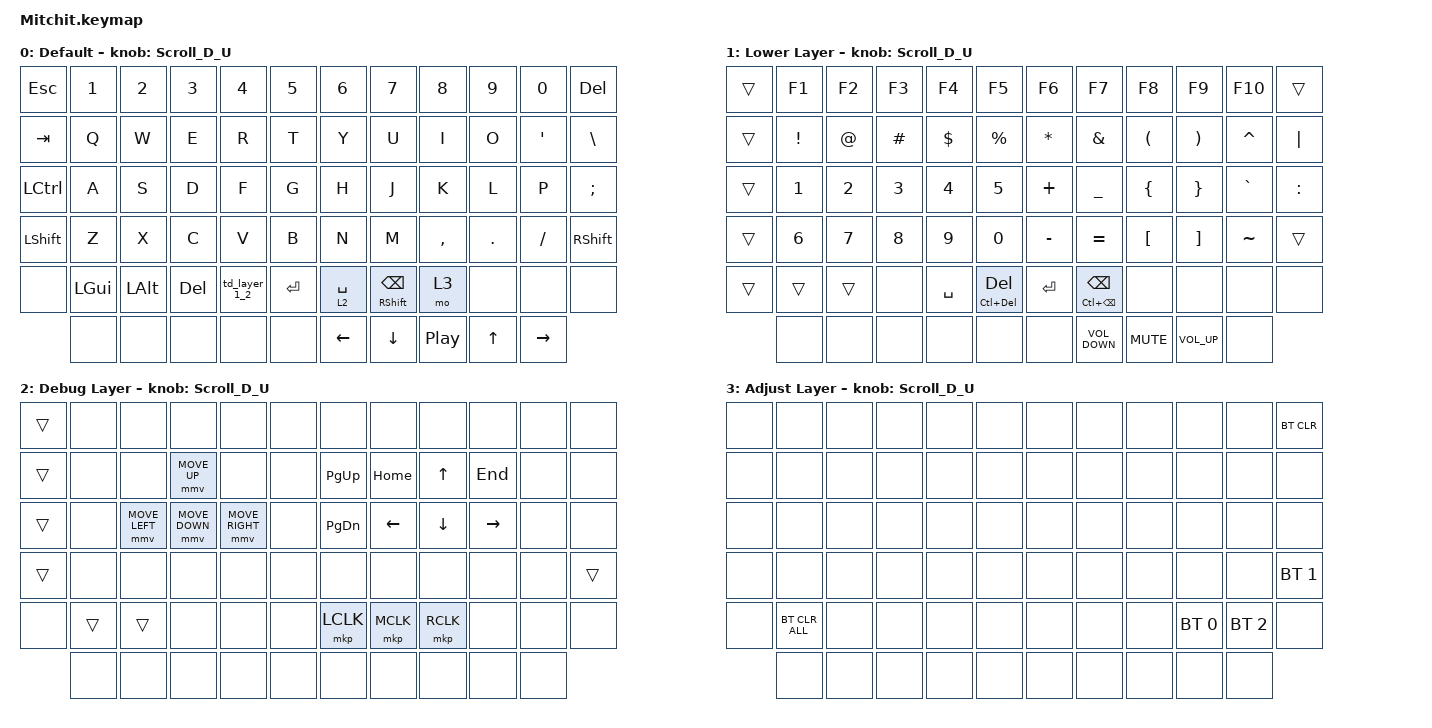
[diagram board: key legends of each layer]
/*
 * Copyright (c) 2020 The ZMK Contributors
 *
 * SPDX-License-Identifier: MIT
 */

#include <input/processors.dtsi>
#include <zephyr/dt-bindings/input/input-event-codes.h>
#include <dt-bindings/zmk/mouse.h>
#include <behaviors/mouse_keys.dtsi>
#include <behaviors.dtsi>
#include <dt-bindings/zmk/bt.h>
#include <dt-bindings/zmk/keys.h>
#include <dt-bindings/zmk/pointing.h>

#define ZMK_POINTING_DEFAULT_MOVE_VAL 1200  // 600
#define ZMK_POINTING_DEFAULT_SCRL_VAL 900   // mousescroll SPEED

&mmv_input_listener { input-processors = <&zip_xy_scaler 2 1>; };

&msc_input_listener { input-processors = <&zip_scroll_scaler 2 1>; };

&msc {
    acceleration-exponent = <1>;      // 0
    time-to-max-speed-ms = <100>;       // 300
    delay-ms = <0>;                   // 0
};

&mmv {
    time-to-max-speed-ms = <500>;
    acceleration-exponent = <1>;
    trigger-period-ms = <16>;
};

&soft_off {
    hold-time-ms = <3000>; // Only turn off it the key is held for 3 seconds or longer.
};

&mt {
    tapping-term-ms = <300>;
    flavor = "balanced";
};

/ {
    behaviors {
        Scroll_D_U: Scroll_D_U {
            compatible = "zmk,behavior-sensor-rotate";
            label = "SCROLL_D_U";
            #sensor-binding-cells = <0>;
            bindings = <&msc SCRL_DOWN>, <&msc SCRL_UP>;

            tap-ms = <20>;
        };

        TD01: TD01 {
            compatible = "zmk,behavior-tap-dance";
            label = "TD01";
            #binding-cells = <0>;
            bindings = <&kp MINUS>, <&kp PERIOD>;
        };

        Scroll_U_D: Scroll_U_D {
            compatible = "zmk,behavior-sensor-rotate";
            label = "SCROLL_U_D";
            #sensor-binding-cells = <0>;
            bindings = <&msc SCRL_UP>, <&msc SCRL_DOWN>;

            tap-ms = <20>;
        };

        Scroll_LR: Scroll_LR {
            compatible = "zmk,behavior-sensor-rotate";
            label = "SCROLL_LR";
            #sensor-binding-cells = <0>;
            bindings = <&msc SCRL_LEFT>, <&msc SCRL_RIGHT>;

            tap-ms = <20>;
        };

        Scroll_RL: Scroll_RL {
            compatible = "zmk,behavior-sensor-rotate";
            label = "SCROLL_RL";
            #sensor-binding-cells = <0>;
            bindings = <&msc SCRL_RIGHT>, <&msc SCRL_LEFT>;

            tap-ms = <20>;
        };

        td_Bracket: td_Bracket {
            compatible = "zmk,behavior-tap-dance";
            label = "TD_BRACKET";
            #binding-cells = <0>;
            bindings = <&kp LEFT_BRACKET>, <&kp RIGHT_BRACKET>;
        };

        td_Parenthesis: td_Parenthesis {
            compatible = "zmk,behavior-tap-dance";
            label = "TD_PARENTHESIS";
            #binding-cells = <0>;
            bindings = <&kp LEFT_PARENTHESIS>, <&kp RIGHT_PARENTHESIS>;
        };

        td_BRACE: td_BRACE {
            compatible = "zmk,behavior-tap-dance";
            label = "TD_BRACE";
            #binding-cells = <0>;
            bindings = <&kp LEFT_BRACE>, <&kp RIGHT_BRACE>;
        };

        td_F5: td_F5 {
            compatible = "zmk,behavior-tap-dance";
            label = "TD_F5";
            #binding-cells = <0>;
            bindings = <&kp F5>, <&kp LS(F5)>;
        };

        td_F11: td_F11 {
            compatible = "zmk,behavior-tap-dance";
            label = "TD_F11";
            #binding-cells = <0>;
            bindings = <&kp F11>, <&kp LS(F11)>;
        };

        td_F12: td_F12 {
            compatible = "zmk,behavior-tap-dance";
            label = "TD_F12";
            #binding-cells = <0>;
            bindings = <&kp F12>, <&kp LS(F12)>;
        };

        td_layer_1_2: td_layer_1_2 {
            compatible = "zmk,behavior-tap-dance";
            label = "TD_LAYER_1_2";
            #binding-cells = <0>;
            bindings = <&mo 1>, <&mo 2>;
        };
    };

    combos { compatible = "zmk,combos"; };

    macros {
        CommnentLineMac: new_macro {
            compatible = "zmk,behavior-macro";
            #binding-cells = <0>;
            bindings = <&kp LG(K)>, <&macro_wait_time 100>, <&kp LG(C)>;

            label = "NEW_MACRO";
        };

        SplitFunctionMac: split_function {
            compatible = "zmk,behavior-macro";
            #binding-cells = <0>;
            bindings = <&kp LG(R)>, <&macro_wait_time 100>, <&kp LG(M)>;

            label = "SPLIT_FUNCTION";
        };

        CommnentLineWin: CommnentLineWin {
            compatible = "zmk,behavior-macro";
            #binding-cells = <0>;
            bindings = <&kp LC(K)>, <&macro_wait_time 100>, <&kp LC(C)>;

            label = "COMMNENTLINEWIN";
        };

        SplitFunctionWin: SplitFunctionWin {
            compatible = "zmk,behavior-macro";
            #binding-cells = <0>;
            bindings = <&kp LC(R)>, <&macro_wait_time 100>, <&kp LC(M)>;

            label = "SPLITFUNCTIONWIN";
        };
    };

    keymap {
        compatible = "zmk,keymap";

        default {
            display-name = "Default";
            bindings = <
&kp ESCAPE        &kp N1    &kp N2    &kp N3      &kp N4         &kp N5     &kp N6       &kp N7                &kp N8            &kp N9   &kp N0     &kp DEL
&kp TAB           &kp Q     &kp W     &kp E       &kp R          &kp T      &kp Y        &kp U                 &kp I             &kp O    &kp APOS   &kp BACKSLASH
&kp LEFT_CONTROL  &kp A     &kp S     &kp D       &kp F          &kp G      &kp H        &kp J                 &kp K             &kp L    &kp P      &kp SEMICOLON
&kp LSHFT         &kp Z     &kp X     &kp C       &kp V          &kp B      &kp N        &kp M                 &kp COMMA         &kp DOT  &kp FSLH   &kp RSHFT
&none             &kp LGUI  &kp LALT  &kp DELETE  &td_layer_1_2  &kp ENTER  &lt 2 SPACE  &mt RSHIFT BACKSPACE  &mo 3             &none    &none      &none
                  &none     &none     &none       &none          &none      &kp LEFT     &kp DOWN              &kp C_PLAY_PAUSE  &kp UP   &kp RIGHT
            >;

            sensor-bindings = <&Scroll_D_U>;
        };

        lower {
            bindings = <
&trans  &kp F1           &kp F2       &kp F3    &kp F4      &kp F5           &kp F6        &kp F7                       &kp F8                &kp F9                 &kp F10    &trans
&trans  &kp EXCLAMATION  &kp AT_SIGN  &kp HASH  &kp DOLLAR  &kp PERCENT      &kp ASTERISK  &kp AMPERSAND                &kp LEFT_PARENTHESIS  &kp RIGHT_PARENTHESIS  &kp CARET  &kp PIPE
&trans  &kp NUMBER_1     &kp N2       &kp N3    &kp N4      &kp N5           &kp PLUS      &kp UNDERSCORE               &kp LEFT_BRACE        &kp RIGHT_BRACE        &kp GRAVE  &kp COLON
&trans  &kp N6           &kp N7       &kp N8    &kp N9      &kp N0           &kp MINUS     &kp EQUAL                    &kp LEFT_BRACKET      &kp RIGHT_BRACKET      &kp TILDE  &trans
&trans  &trans           &trans       &none     &kp SPACE   &mt LC(DEL) DEL  &kp ENTER     &mt LC(BACKSPACE) BACKSPACE  &none                 &none                  &none      &none
        &none            &none        &none     &none       &none            &none         &kp C_VOLUME_DOWN            &kp C_MUTE            &kp C_VOLUME_UP        &none
            >;

            label = "Lower Layer";
            sensor-bindings = <&Scroll_D_U>;
        };

        debug {
            label = "Debug Layer";
            bindings = <
&trans  &none   &none           &none           &none            &none  &none          &none      &none      &none      &none  &none
&trans  &none   &none           &mmv MOVE_UP    &none            &none  &kp PAGE_UP    &kp HOME   &kp UP     &kp END    &none  &none
&trans  &none   &mmv MOVE_LEFT  &mmv MOVE_DOWN  &mmv MOVE_RIGHT  &none  &kp PAGE_DOWN  &kp LEFT   &kp DOWN   &kp RIGHT  &none  &none
&trans  &none   &none           &none           &none            &none  &none          &none      &none      &none      &none  &trans
&none   &trans  &trans          &none           &none            &none  &mkp LCLK      &mkp MCLK  &mkp RCLK  &none      &none  &none
        &none   &none           &none           &none            &none  &none          &none      &none      &none      &none
            >;

            sensor-bindings = <&Scroll_D_U>;
        };

        adjust {
            label = "Adjust Layer";
            bindings = <
&none  &none           &none  &none  &none  &none  &none  &none  &none  &none         &none         &bt BT_CLR
&none  &none           &none  &none  &none  &none  &none  &none  &none  &none         &none         &none
&none  &none           &none  &none  &none  &none  &none  &none  &none  &none         &none         &none
&none  &none           &none  &none  &none  &none  &none  &none  &none  &none         &none         &bt BT_SEL 1
&none  &bt BT_CLR_ALL  &none  &none  &none  &none  &none  &none  &none  &bt BT_SEL 0  &bt BT_SEL 2  &none
       &none           &none  &none  &none  &none  &none  &none  &none  &none         &none
            >;

            sensor-bindings = <&Scroll_D_U>;
        };
    };

    conditional_layers { compatible = "zmk,conditional-layers"; };
};
